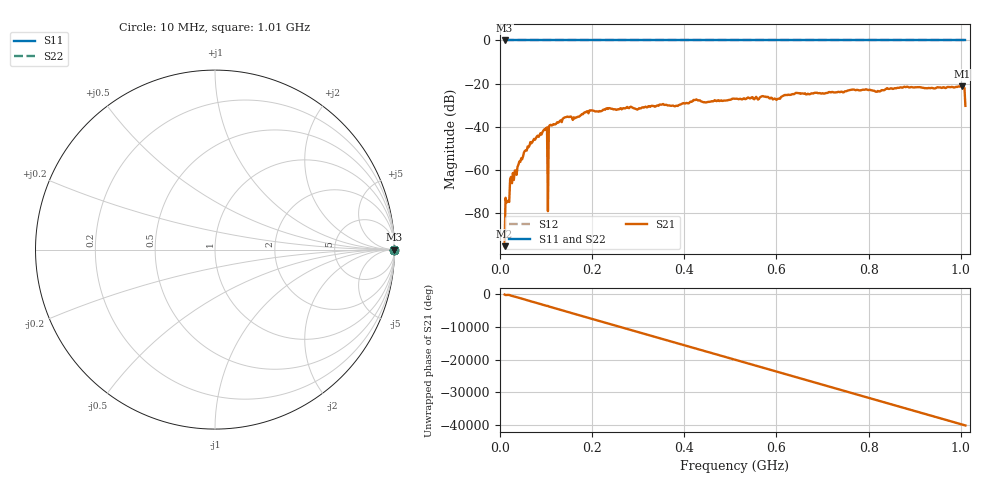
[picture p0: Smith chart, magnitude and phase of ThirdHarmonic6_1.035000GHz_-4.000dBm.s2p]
! 8/16/2025 8:53:44 AM
! C:\ANRITSUVNA\TEMP\TEMP.S2P
! CHANNEL.1
! TR.MEASUREMENT
! RAW.DATA
! RF.CORRECTION.OFF
! AVERAGING.OFF
! IF.BANDWIDTH: 5KHZ
! SWEEPTYPE:  FREQ.SWEEP(Linear)
! Reference Plane Port Info
! PORT:  PORT1  PORT2
! DISTANCE:  0  m  0  m
! TIME:  0  s  0  s
! PHASE.OFFSET:  0  deg.  0  deg.
! LOSS:  0  dB  0  dB
! REF.LOSS:  0  dB  0  dB
! REF.FREQ:  0  Hz  0  Hz
! Power Info
! POWER:  -20  dBm  -20  dBm
! EFF.POWER:  -20  dBm  -20  dBm
! SOURCE.ATTEN:  0  dB  0  dB
! TEST.ATTEN:  0  dB  0  dB
# GHZ S RI R 50.0
! FREQ.GHZ  S11RE  S11IM  S21RE  S21IM  S12RE  S12IM  S22RE  S22IM
!; PortSelection: Port_12
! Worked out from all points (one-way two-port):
!   501 points, 10 MHz to 1.01 GHz, reference 50 ohm
!   highest |S21| = -21.27 dB at 1.002 GHz (marker M1); lowest = -95.5 dB at 10 MHz (marker M2)
!   lowest |S11| = 0.0 dB at 10 MHz (marker M3)
!   |S11| at or under -10 dB: nowhere
!   |S22| runs from 0.0 to 0.0 dB; largest |S21 - S12| = 1.1
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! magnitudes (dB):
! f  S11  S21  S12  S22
! 10 MHz  0.0  -95.5  0.0  0.0
! 16 MHz  0.0  -74.7  0.0  0.0
! 26 MHz  0.0  -66.3  0.0  0.0
! 56 MHz  0.0  -51.1  0.0  0.0
! 70 MHz  0.0  -47.3  0.0  0.0
! 98 MHz  0.0  -41.5  0.0  0.0
! 100 MHz  0.0  -40.7  0.0  0.0
! 108 MHz  0.0  -39.4  0.0  0.0
! 110 MHz  0.0  -39.2  0.0  0.0
! 142 MHz  0.0  -35.6  0.0  0.0
! 178 MHz  0.0  -34.2  0.0  0.0
! 234 MHz  0.0  -31.8  0.0  0.0
! 344 MHz  0.0  -30.3  0.0  0.0
! 510 MHz  0.0  -27.1  0.0  0.0
! 572 MHz  0.0  -26.0  0.0  0.0
! 602 MHz  0.0  -27.2  0.0  0.0
! 644 MHz  0.0  -24.3  0.0  0.0
! 678 MHz  0.0  -24.5  0.0  0.0
! 844 MHz  0.0  -22.5  0.0  0.0
! 1.002 GHz  0.0  -21.3  0.0  0.0
! 1.004 GHz  0.0  -21.4  0.0  0.0
! 1.01 GHz  0.0  -30.4  0.0  0.0
